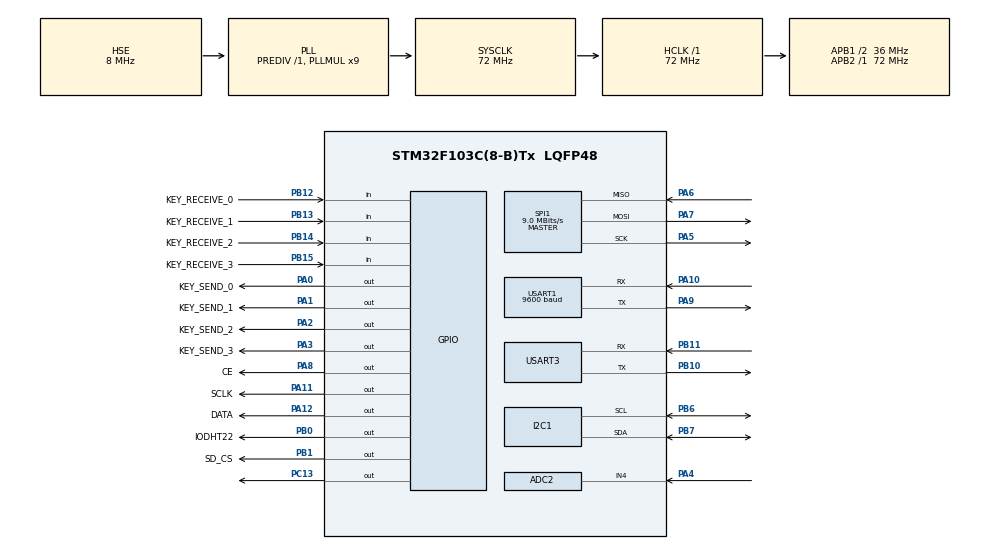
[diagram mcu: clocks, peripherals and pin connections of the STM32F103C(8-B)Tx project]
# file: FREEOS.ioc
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ADC2.Channel-0\#ChannelRegularConversion=ADC_CHANNEL_4
ADC2.NbrOfConversionFlag=1
ADC2.Rank-0\#ChannelRegularConversion=1
ADC2.SamplingTime-0\#ChannelRegularConversion=ADC_SAMPLETIME_1CYCLE_5
Dma.Request0=USART3_RX
Dma.Request1=USART3_TX
Dma.Request2=USART1_RX
Dma.Request3=USART1_TX
Dma.USART1_RX.2.Direction=DMA_PERIPH_TO_MEMORY
Dma.USART1_RX.2.Instance=DMA1_Channel5
Dma.USART1_RX.2.MemDataAlignment=DMA_MDATAALIGN_BYTE
Dma.USART1_RX.2.MemInc=DMA_MINC_ENABLE
Dma.USART1_RX.2.Mode=DMA_NORMAL
Dma.USART1_RX.2.PeriphDataAlignment=DMA_PDATAALIGN_BYTE
Dma.USART1_RX.2.PeriphInc=DMA_PINC_DISABLE
Dma.USART1_RX.2.Priority=DMA_PRIORITY_LOW
Dma.USART1_TX.3.Direction=DMA_MEMORY_TO_PERIPH
Dma.USART1_TX.3.Instance=DMA1_Channel4
Dma.USART1_TX.3.MemDataAlignment=DMA_MDATAALIGN_BYTE
Dma.USART1_TX.3.MemInc=DMA_MINC_ENABLE
Dma.USART1_TX.3.Mode=DMA_NORMAL
Dma.USART1_TX.3.PeriphDataAlignment=DMA_PDATAALIGN_BYTE
Dma.USART1_TX.3.PeriphInc=DMA_PINC_DISABLE
Dma.USART1_TX.3.Priority=DMA_PRIORITY_LOW
Dma.USART3_RX.0.Direction=DMA_PERIPH_TO_MEMORY
Dma.USART3_RX.0.Instance=DMA1_Channel3
Dma.USART3_RX.0.MemDataAlignment=DMA_MDATAALIGN_BYTE
Dma.USART3_RX.0.MemInc=DMA_MINC_ENABLE
Dma.USART3_RX.0.Mode=DMA_NORMAL
Dma.USART3_RX.0.PeriphDataAlignment=DMA_PDATAALIGN_BYTE
Dma.USART3_RX.0.PeriphInc=DMA_PINC_DISABLE
Dma.USART3_RX.0.Priority=DMA_PRIORITY_LOW
Dma.USART3_TX.1.Direction=DMA_MEMORY_TO_PERIPH
Dma.USART3_TX.1.Instance=DMA1_Channel2
Dma.USART3_TX.1.MemDataAlignment=DMA_MDATAALIGN_BYTE
Dma.USART3_TX.1.MemInc=DMA_MINC_ENABLE
Dma.USART3_TX.1.Mode=DMA_NORMAL
Dma.USART3_TX.1.PeriphDataAlignment=DMA_PDATAALIGN_BYTE
Dma.USART3_TX.1.PeriphInc=DMA_PINC_DISABLE
Dma.USART3_TX.1.Priority=DMA_PRIORITY_LOW
FREERTOS.BinarySemaphores01=myBinarySem01,Dynamic,NULL
FREERTOS.Queues01=myQueue01,16,uint16_t,0,Dynamic,NULL,NULL;myQueue02,8,uint8_t,0,Dynamic,NULL,NULL;myQueue03,8,uint8_t,0,Dynamic,NULL,NULL;wifi_flag,8,uint8_t,0,Dynamic,NULL,NULL;ADC_VALUE,16,uint16_t,0,Dynamic,NULL,NULL;wifi_statue,8,uint8_t,0,Dynamic,NULL,NULL
FREERTOS.Tasks01=defaultTask,0,128,StartDefaultTask,Default,NULL,Static,defaultTaskBuffer,defaultTaskControlBlock;myTask02,0,128,StartTask02,Default,NULL,Static,myTask02Buffer,myTask02ControlBlock;myTask03,0,128,StartTask03,Default,NULL,Static,myTask03Buffer,myTask03ControlBlock;myTask04,0,128,StartTask04,Default,NULL,Static,myTask04Buffer,myTask04ControlBlock;myTask05,0,128,StartTask05,Default,NULL,Static,myTask05Buffer,myTask05ControlBlock;myTask06,0,128,StartTask06,Default,NULL,Static,myTask06Buffer,myTask06ControlBlock;myTask08,0,128,StartTask08,Default,NULL,Static,myTask08Buffer,myTask08ControlBlock;myTask09,0,128,StartTask09,Default,NULL,Static,myTask09Buffer,myTask09ControlBlock
IWDG.Prescaler=IWDG_PRESCALER_32
IWDG.Reload=100
Mcu.Family=STM32F1
Mcu.Name=STM32F103C(8-B)Tx
Mcu.Package=LQFP48
NVIC.DMA1_Channel2_IRQn=true\:5\:0\:false\:false\:true\:true\:false\:true
NVIC.DMA1_Channel3_IRQn=true\:5\:0\:false\:false\:true\:true\:false\:true
NVIC.DMA1_Channel4_IRQn=true\:5\:0\:false\:false\:true\:true\:false\:true
NVIC.DMA1_Channel5_IRQn=true\:5\:0\:false\:false\:true\:true\:false\:true
NVIC.PriorityGroup=NVIC_PRIORITYGROUP_4
NVIC.TIM1_UP_IRQn=true\:5\:0\:false\:false\:true\:true\:true\:true
NVIC.TIM4_IRQn=true\:0\:0\:false\:false\:true\:false\:false\:true
NVIC.TimeBase=TIM4_IRQn
NVIC.TimeBaseIP=TIM4
NVIC.USART1_IRQn=true\:5\:0\:false\:false\:true\:true\:true\:true
NVIC.USART3_IRQn=true\:5\:0\:true\:false\:true\:true\:true\:true
PA0-WKUP.GPIO_Label=KEY_SEND_0
PA0-WKUP.GPIO_Speed=GPIO_SPEED_FREQ_HIGH
PA0-WKUP.PinState=GPIO_PIN_SET
PA0-WKUP.Signal=GPIO_Output
PA1.GPIO_Label=KEY_SEND_1
PA1.GPIO_Speed=GPIO_SPEED_FREQ_HIGH
PA1.PinState=GPIO_PIN_SET
PA1.Signal=GPIO_Output
PA10.Mode=Asynchronous
PA10.Signal=USART1_RX
PA11.GPIO_Label=SCLK
PA11.GPIO_Speed=GPIO_SPEED_FREQ_HIGH
PA11.PinState=GPIO_PIN_SET
PA11.Signal=GPIO_Output
PA12.GPIO_Label=DATA
PA12.GPIO_Speed=GPIO_SPEED_FREQ_HIGH
PA12.PinState=GPIO_PIN_SET
PA12.Signal=GPIO_Output
PA13.Mode=Serial_Wire
PA13.Signal=SYS_JTMS-SWDIO
PA14.Mode=Serial_Wire
PA14.Signal=SYS_JTCK-SWCLK
PA2.GPIO_Label=KEY_SEND_2
PA2.GPIO_Speed=GPIO_SPEED_FREQ_HIGH
PA2.PinState=GPIO_PIN_SET
PA2.Signal=GPIO_Output
PA3.GPIO_Label=KEY_SEND_3
PA3.GPIO_Speed=GPIO_SPEED_FREQ_HIGH
PA3.PinState=GPIO_PIN_SET
PA3.Signal=GPIO_Output
PA4.Signal=SharedAnalog_PA4
PA5.Mode=Full_Duplex_Master
PA5.Signal=SPI1_SCK
PA6.Mode=Full_Duplex_Master
PA6.Signal=SPI1_MISO
PA7.Mode=Full_Duplex_Master
PA7.Signal=SPI1_MOSI
PA8.GPIO_Label=CE
PA8.GPIO_Speed=GPIO_SPEED_FREQ_HIGH
PA8.PinState=GPIO_PIN_SET
PA8.Signal=GPIO_Output
PA9.Mode=Asynchronous
PA9.Signal=USART1_TX
PB0.GPIO_Label=IODHT22
PB0.GPIO_PuPd=GPIO_PULLUP
PB0.GPIO_Speed=GPIO_SPEED_FREQ_HIGH
PB0.PinState=GPIO_PIN_SET
PB0.Signal=GPIO_Output
PB1.GPIO_Label=SD_CS
PB1.Signal=GPIO_Output
PB10.Mode=Asynchronous
PB10.Signal=USART3_TX
PB11.Mode=Asynchronous
PB11.Signal=USART3_RX
PB12.GPIO_Label=KEY_RECEIVE_0
PB12.GPIO_Mode=GPIO_MODE_INPUT
PB12.GPIO_PuPd=GPIO_PULLUP
PB12.Signal=GPIO_Input
PB13.GPIO_Label=KEY_RECEIVE_1
PB13.GPIO_Mode=GPIO_MODE_INPUT
PB13.GPIO_PuPd=GPIO_PULLUP
PB13.Signal=GPIO_Input
PB14.GPIO_Label=KEY_RECEIVE_2
PB14.GPIO_Mode=GPIO_MODE_INPUT
PB14.GPIO_PuPd=GPIO_PULLUP
PB14.Signal=GPIO_Input
PB15.GPIO_Label=KEY_RECEIVE_3
PB15.GPIO_Mode=GPIO_MODE_INPUT
PB15.GPIO_PuPd=GPIO_PULLUP
PB15.Signal=GPIO_Input
PB6.Mode=I2C
PB6.Signal=I2C1_SCL
PB7.Mode=I2C
PB7.Signal=I2C1_SDA
PC13-TAMPER-RTC.GPIO_Speed=GPIO_SPEED_FREQ_HIGH
PC13-TAMPER-RTC.Signal=GPIO_Output
PD0-OSC_IN.Mode=HSE-External-Oscillator
PD0-OSC_IN.Signal=RCC_OSC_IN
PD1-OSC_OUT.Mode=HSE-External-Oscillator
PD1-OSC_OUT.Signal=RCC_OSC_OUT
ProjectManager.HeapSize=0x200
ProjectManager.StackSize=0x400
ProjectManager.TargetToolchain=MDK-ARM V5.27
RCC.ADCPresc=RCC_ADCPCLK2_DIV6
RCC.AHBFreq_Value=72000000
RCC.APB1CLKDivider=RCC_HCLK_DIV2
RCC.APB1Freq_Value=36000000
RCC.APB1TimFreq_Value=72000000
RCC.APB2Freq_Value=72000000
RCC.APB2TimFreq_Value=72000000
RCC.HCLKFreq_Value=72000000
RCC.PLLMUL=RCC_PLL_MUL9
RCC.PLLSourceVirtual=RCC_PLLSOURCE_HSE
RCC.SYSCLKFreq_VALUE=72000000
RCC.SYSCLKSource=RCC_SYSCLKSOURCE_PLLCLK
RCC.USBFreq_Value=72000000
RCC.VDD_VALUE=3.6
SH.SharedAnalog_PA4.0=GPIO_Analog
SH.SharedAnalog_PA4.1=ADC2_IN4,IN4
SPI1.BaudRatePrescaler=SPI_BAUDRATEPRESCALER_8
SPI1.CalculateBaudRate=9.0 MBits/s
SPI1.Direction=SPI_DIRECTION_2LINES
SPI1.Mode=SPI_MODE_MASTER
SPI1.VirtualType=VM_MASTER
TIM1.Period=50000-1
TIM1.Prescaler=71
USART1.BaudRate=9600
USART1.VirtualMode=VM_ASYNC
USART3.VirtualMode=VM_ASYNC
VP_FATFS_VS_Generic.Mode=User_defined
VP_FREERTOS_VS_CMSIS_V1.Mode=CMSIS_V1
VP_IWDG_VS_IWDG.Mode=IWDG_Activate
VP_SYS_VS_tim4.Mode=TIM4
VP_TIM1_VS_ClockSourceINT.Mode=Internal
board=custom

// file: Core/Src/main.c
/* USER CODE BEGIN Header */
/**
  ******************************************************************************
  * @file           : main.c
  * @brief          : Main program body
  ******************************************************************************
  * @attention
  *
  * <h2><center>&copy; Copyright (c) 2021 STMicroelectronics.
  * All rights reserved.</center></h2>
  *
  * This software component is licensed by ST under Ultimate Liberty license
  * SLA0044, the "License"; You may not use this file except in compliance with
  * the License. You may obtain a copy of the License at:
  *                             www.st.com/SLA0044
  *
  ******************************************************************************
  */
/* USER CODE END Header */
#include "main.h"
#include "cmsis_os.h"
#include "adc.h"
#include "dma.h"
#include "fatfs.h"
#include "i2c.h"
#include "iwdg.h"
#include "spi.h"
#include "tim.h"
#include "usart.h"
#include "gpio.h"

void SystemClock_Config(void);
void MX_FREERTOS_Init(void);

int main(void)
{

  /* MCU Configuration--------------------------------------------------------*/

  /* Reset of all peripherals, Initializes the Flash interface and the Systick. */
  HAL_Init();

  /* Configure the system clock */
  SystemClock_Config();

  /* Initialize all configured peripherals */
  MX_GPIO_Init();
  MX_DMA_Init();
  MX_USART3_UART_Init();
  MX_I2C1_Init();
  MX_TIM1_Init();
  MX_IWDG_Init();
  MX_ADC2_Init();
  MX_USART1_UART_Init();
  MX_SPI1_Init();
  MX_FATFS_Init();

  /* Call init function for freertos objects (in freertos.c) */
  MX_FREERTOS_Init();
  /* Start scheduler */
  osKernelStart();

  /* We should never get here as control is now taken by the scheduler */
  /* Infinite loop */
  while (1)
  {

  }
}

void SystemClock_Config(void)
{
  RCC_OscInitTypeDef RCC_OscInitStruct = {0};
  RCC_ClkInitTypeDef RCC_ClkInitStruct = {0};
  RCC_PeriphCLKInitTypeDef PeriphClkInit = {0};

  /** Initializes the RCC Oscillators according to the specified parameters
  * in the RCC_OscInitTypeDef structure.
  */
  RCC_OscInitStruct.OscillatorType = RCC_OSCILLATORTYPE_LSI|RCC_OSCILLATORTYPE_HSE;
  RCC_OscInitStruct.HSEState = RCC_HSE_ON;
  RCC_OscInitStruct.HSEPredivValue = RCC_HSE_PREDIV_DIV1;
  RCC_OscInitStruct.HSIState = RCC_HSI_ON;
  RCC_OscInitStruct.LSIState = RCC_LSI_ON;
  RCC_OscInitStruct.PLL.PLLState = RCC_PLL_ON;
  RCC_OscInitStruct.PLL.PLLSource = RCC_PLLSOURCE_HSE;
  RCC_OscInitStruct.PLL.PLLMUL = RCC_PLL_MUL9;
  if (HAL_RCC_OscConfig(&RCC_OscInitStruct) != HAL_OK)
  {
    Error_Handler();
  }
  /** Initializes the CPU, AHB and APB buses clocks
  */
  RCC_ClkInitStruct.ClockType = RCC_CLOCKTYPE_HCLK|RCC_CLOCKTYPE_SYSCLK
                              |RCC_CLOCKTYPE_PCLK1|RCC_CLOCKTYPE_PCLK2;
  RCC_ClkInitStruct.SYSCLKSource = RCC_SYSCLKSOURCE_PLLCLK;
  RCC_ClkInitStruct.AHBCLKDivider = RCC_SYSCLK_DIV1;
  RCC_ClkInitStruct.APB1CLKDivider = RCC_HCLK_DIV2;
  RCC_ClkInitStruct.APB2CLKDivider = RCC_HCLK_DIV1;

  if (HAL_RCC_ClockConfig(&RCC_ClkInitStruct, FLASH_LATENCY_2) != HAL_OK)
  {
    Error_Handler();
  }
  PeriphClkInit.PeriphClockSelection = RCC_PERIPHCLK_ADC;
  PeriphClkInit.AdcClockSelection = RCC_ADCPCLK2_DIV6;
  if (HAL_RCCEx_PeriphCLKConfig(&PeriphClkInit) != HAL_OK)
  {
    Error_Handler();
  }
}

 /**
  * @brief  Period elapsed callback in non blocking mode
  * @note   This function is called  when TIM4 interrupt took place, inside
  * HAL_TIM_IRQHandler(). It makes a direct call to HAL_IncTick() to increment
  * a global variable "uwTick" used as application time base.
  * @param  htim : TIM handle
  * @retval None
  */
void HAL_TIM_PeriodElapsedCallback(TIM_HandleTypeDef *htim)
{
  if (htim->Instance == TIM4) {
    HAL_IncTick();
  }
}

void Error_Handler(void)
{
  __disable_irq();
  while (1)
  {
  }
}

/************************ (C) COPYRIGHT STMicroelectronics *****END OF FILE****/

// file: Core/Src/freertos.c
/* USER CODE BEGIN Header */
/**
  ******************************************************************************
  * File Name          : freertos.c
  * Description        : Code for freertos applications
  ******************************************************************************
  * @attention
  *
  * <h2><center>&copy; Copyright (c) 2021 STMicroelectronics.
  * All rights reserved.</center></h2>
  *
  * This software component is licensed by ST under Ultimate Liberty license
  * SLA0044, the "License"; You may not use this file except in compliance with
  * the License. You may obtain a copy of the License at:
  *                             www.st.com/SLA0044
  *
  ******************************************************************************
  */
/* USER CODE END Header */

#include "FreeRTOS.h"
#include "task.h"
#include "main.h"
#include "cmsis_os.h"

/* USER CODE BEGIN Includes */
#include "stdarg.h"
#include "stdio.h"
#include "ssd1306.h"
#include "dht11.h"
//#include "ds18b20.h"
#include "SDdriver.h"
#include "Matrix_keyboard.h"
#include "module_wifi.h"
#include "ds1302.h"
#include "module_option.h"
#include "filedir.h"
/* USER CODE END Includes */

/* USER CODE BEGIN Variables */
//struct TIMEData TimeData;
extern I2C_HandleTypeDef hi2c1;
extern UART_HandleTypeDef huart3;
extern UART_HandleTypeDef huart1;
extern IWDG_HandleTypeDef hiwdg;
extern ADC_HandleTypeDef hadc2;
uint8_t temp=0,humi=0;
char USART_buf[50],oled_buf[255],enter[4];
char *p;
int cmp=0;
int key=0;
uint8_t cursor=1;
char led;
char clock_state=0;
//uint8_t wifistatue=0;
osMailQId myQueue04Handle;
osMailQId myQueue05Handle;
osMailQId myQueue06Handle;
/* USER CODE END Variables */
osThreadId defaultTaskHandle;
uint32_t defaultTaskBuffer[ 128 ];
osStaticThreadDef_t defaultTaskControlBlock;
osThreadId myTask02Handle;
uint32_t myTask02Buffer[ 128 ];
osStaticThreadDef_t myTask02ControlBlock;
osThreadId myTask03Handle;
uint32_t myTask03Buffer[ 128 ];
osStaticThreadDef_t myTask03ControlBlock;
osThreadId myTask04Handle;
uint32_t myTask04Buffer[ 128 ];
osStaticThreadDef_t myTask04ControlBlock;
osThreadId myTask05Handle;
uint32_t myTask05Buffer[ 128 ];
osStaticThreadDef_t myTask05ControlBlock;
osThreadId myTask06Handle;
uint32_t myTask06Buffer[ 128 ];
osStaticThreadDef_t myTask06ControlBlock;
osThreadId myTask08Handle;
uint32_t myTask08Buffer[ 128 ];
osStaticThreadDef_t myTask08ControlBlock;
osThreadId myTask09Handle;
uint32_t myTask09Buffer[ 128 ];
osStaticThreadDef_t myTask09ControlBlock;
osMessageQId myQueue01Handle;
osMessageQId myQueue02Handle;
osMessageQId myQueue03Handle;
osMessageQId wifi_flagHandle;
osMessageQId ADC_VALUEHandle;
osMessageQId wifi_statueHandle;
osSemaphoreId myBinarySem01Handle;

/* USER CODE BEGIN FunctionPrototypes */
void vprint(const char *fmt, va_list argp) {
	char string[200];
	if (0 < vsprintf(string, fmt, argp)) // build string
			{
		HAL_UART_Transmit_DMA(&huart3, (uint8_t*) string, strlen(string)); // send message via UART

	}
}

void my_printf(const char *fmt, ...) // custom printf() function
{
	va_list argp;
	va_start(argp, fmt);
	vprint(fmt, argp);
	va_end(argp);
}
void vprint_UART1(const char *fmt, va_list argp) {
	char string[200];
	if (0 < vsprintf(string, fmt, argp)) // build string
			{
		HAL_UART_Transmit(&huart1, (uint8_t*) string, strlen(string),1000); // send message via UART

	}
}

int UART1_printf(const char *fmt, ...) // custom printf() function
{
	va_list argp;
	va_start(argp, fmt);
	vprint_UART1(fmt, argp);
	va_end(argp);
	return 0;
}
void led_PWM(int cmp)
{
	int i=0;
				for(i=1;i<100;i++)
          {
							if(i<cmp)
							{
								HAL_GPIO_WritePin(GPIOC,GPIO_PIN_13,GPIO_PIN_RESET);
								delay_us(200);
							}
							else
							{
								HAL_GPIO_WritePin(GPIOC,GPIO_PIN_13,GPIO_PIN_SET);
								delay_us(200);
							}
          }
}
/* USER CODE END FunctionPrototypes */

void StartDefaultTask(void const * argument);
void StartTask02(void const * argument);
void StartTask03(void const * argument);
void StartTask04(void const * argument);
void StartTask05(void const * argument);
void StartTask06(void const * argument);
void StartTask08(void const * argument);
void StartTask09(void const * argument);

void MX_FREERTOS_Init(void); /* (MISRA C 2004 rule 8.1) */

/* GetIdleTaskMemory prototype (linked to static allocation support) */
void vApplicationGetIdleTaskMemory( StaticTask_t **ppxIdleTaskTCBBuffer, StackType_t **ppxIdleTaskStackBuffer, uint32_t *pulIdleTaskStackSize );

/* USER CODE BEGIN GET_IDLE_TASK_MEMORY */
static StaticTask_t xIdleTaskTCBBuffer;
static StackType_t xIdleStack[configMINIMAL_STACK_SIZE];

void vApplicationGetIdleTaskMemory( StaticTask_t **ppxIdleTaskTCBBuffer, StackType_t **ppxIdleTaskStackBuffer, uint32_t *pulIdleTaskStackSize )
{
  *ppxIdleTaskTCBBuffer = &xIdleTaskTCBBuffer;
  *ppxIdleTaskStackBuffer = &xIdleStack[0];
  *pulIdleTaskStackSize = configMINIMAL_STACK_SIZE;
  /* place for user code */
}
/* USER CODE END GET_IDLE_TASK_MEMORY */

void MX_FREERTOS_Init(void) {

  /* Create the semaphores(s) */
  /* definition and creation of myBinarySem01 */
  osSemaphoreDef(myBinarySem01);
  myBinarySem01Handle = osSemaphoreCreate(osSemaphore(myBinarySem01), 1);

  /* Create the queue(s) */
  /* definition and creation of myQueue01 */
  osMessageQDef(myQueue01, 16, uint16_t);
  myQueue01Handle = osMessageCreate(osMessageQ(myQueue01), NULL);

  /* definition and creation of myQueue02 */
  osMessageQDef(myQueue02, 8, uint8_t);
  myQueue02Handle = osMessageCreate(osMessageQ(myQueue02), NULL);

  /* definition and creation of myQueue03 */
  osMessageQDef(myQueue03, 8, uint8_t);
  myQueue03Handle = osMessageCreate(osMessageQ(myQueue03), NULL);

  /* definition and creation of wifi_flag */
  osMessageQDef(wifi_flag, 8, uint8_t);
  wifi_flagHandle = osMessageCreate(osMessageQ(wifi_flag), NULL);

  /* definition and creation of ADC_VALUE */
  osMessageQDef(ADC_VALUE, 16, uint16_t);
  ADC_VALUEHandle = osMessageCreate(osMessageQ(ADC_VALUE), NULL);

  /* definition and creation of wifi_statue */
  osMessageQDef(wifi_statue, 8, uint8_t);
  wifi_statueHandle = osMessageCreate(osMessageQ(wifi_statue), NULL);

  /* USER CODE BEGIN RTOS_QUEUES */
  /* add queues, ... */
	osMailQDef(myQueue04,16,uint16_t);
	myQueue04Handle=osMailCreate(osMailQ(myQueue04),NULL);

	osMailQDef(myQueue05,16,uint16_t);
	myQueue05Handle=osMailCreate(osMailQ(myQueue05),NULL);

	osMailQDef(myQueue06,16,uint16_t);
	myQueue06Handle=osMailCreate(osMailQ(myQueue06),NULL);
  /* USER CODE END RTOS_QUEUES */

  /* Create the thread(s) */
  /* definition and creation of defaultTask */
  osThreadStaticDef(defaultTask, StartDefaultTask, osPriorityNormal, 0, 128, defaultTaskBuffer, &defaultTaskControlBlock);
  defaultTaskHandle = osThreadCreate(osThread(defaultTask), NULL);

  /* definition and creation of myTask02 */
  osThreadStaticDef(myTask02, StartTask02, osPriorityNormal, 0, 128, myTask02Buffer, &myTask02ControlBlock);
  myTask02Handle = osThreadCreate(osThread(myTask02), NULL);

  /* definition and creation of myTask03 */
  osThreadStaticDef(myTask03, StartTask03, osPriorityNormal, 0, 128, myTask03Buffer, &myTask03ControlBlock);
  myTask03Handle = osThreadCreate(osThread(myTask03), NULL);

  /* definition and creation of myTask04 */
  osThreadStaticDef(myTask04, StartTask04, osPriorityNormal, 0, 128, myTask04Buffer, &myTask04ControlBlock);
  myTask04Handle = osThreadCreate(osThread(myTask04), NULL);

  /* definition and creation of myTask05 */
  osThreadStaticDef(myTask05, StartTask05, osPriorityNormal, 0, 128, myTask05Buffer, &myTask05ControlBlock);
  myTask05Handle = osThreadCreate(osThread(myTask05), NULL);

  /* definition and creation of myTask06 */
  osThreadStaticDef(myTask06, StartTask06, osPriorityNormal, 0, 128, myTask06Buffer, &myTask06ControlBlock);
  myTask06Handle = osThreadCreate(osThread(myTask06), NULL);

  /* definition and creation of myTask08 */
  osThreadStaticDef(myTask08, StartTask08, osPriorityNormal, 0, 128, myTask08Buffer, &myTask08ControlBlock);
  myTask08Handle = osThreadCreate(osThread(myTask08), NULL);

  /* definition and creation of myTask09 */
  osThreadStaticDef(myTask09, StartTask09, osPriorityNormal, 0, 128, myTask09Buffer, &myTask09ControlBlock);
  myTask09Handle = osThreadCreate(osThread(myTask09), NULL);

}

void StartDefaultTask(void const * argument)
{
  /* USER CODE BEGIN StartDefaultTask */

	OLED_Init(hi2c1);
	char *ssid;
	char *passwd;
	char j=0,k=0;
	osEvent keyEvent,blueteethEvent,UART3Event;
	osEvent wififlag,ADCEvent;
  /* Infinite loop */
  for(;;)
  {
		wififlag=osMessageGet(wifi_flagHandle,osWaitForever);
		if(wififlag.status==osEventMessage)
		{
			if(wififlag.value.v==1)
			{

				OLED_ShowString(50,5,"success!!!");
			}
			else
			{
				OLED_ShowString(50,5,"sending...");
			}
		}
		ADCEvent=osMessageGet(ADC_VALUEHandle,osWaitForever);
		if(ADCEvent.status==osEventMessage)
		{
			if(ADCEvent.value.v<9)
			{
				sprintf(oled_buf,"ADC:   %d",ADCEvent.value.v);//*(3.3/255)
			}
			if(ADCEvent.value.v>=9&&ADCEvent.value.v<=99)
			{
				sprintf(oled_buf,"ADC:  %d",ADCEvent.value.v);
			}
			if(ADCEvent.value.v>99&&ADCEvent.value.v<=999)
			{
				sprintf(oled_buf,"ADC: %d",ADCEvent.value.v);
			}
			if(ADCEvent.value.v>999&&ADCEvent.value.v<=9999)
			{
				sprintf(oled_buf,"ADC:%d",ADCEvent.value.v);
			}
			OLED_ShowString(10,6,oled_buf);
		}
		keyEvent=osMessageGet(myQueue01Handle,osWaitForever);
		sprintf(oled_buf,"%d",temp);
		OLED_ShowString(50,0,"temp=");
		OLED_ShowString(84,0,oled_buf);
		OLED_ShowString(108,0,"  ");
		OLED_ShowString(50,2,"humi=");
		sprintf(oled_buf,"%d",humi);
		OLED_ShowString(84,2,oled_buf);
		if(keyEvent.status==osEventMessage&&keyEvent.value.v==41)
		{
		}
		if(keyEvent.status==osEventMessage&&keyEvent.value.v==42)
		{
				module_option(keyEvent);

		}
		if(keyEvent.status==osEventMessage&&keyEvent.value.v==43)
		{
			vTaskSuspend(myTask05Handle);
			HAL_UART_Transmit(&huart1,"AT+ROLE=2\r\n", strlen("AT+ROLE=2\r\n"),0xffff);
			my_printf("AT\r\n");
			osDelay(1000);
			my_printf("AT\r\n");
			osDelay(1000);
			my_printf("AT\r\n");
			osDelay(1000);
			OLED_Fill(0x00);
			my_printf("AT+CWJAP?\r\n");
			while(1)
			{
					UART3Event=osMailGet(myQueue06Handle,10);
					if(UART3Event.status==osEventMail)
					{
	          p=strtok(Uart3_RxBuffer,"\r\n");
							OLED_ShowString(0,++j,p);
						if(j==6)
						{
							j=0;
							OLED_Fill(0x00);
						}
					}
				keyEvent=osMessageGet(myQueue01Handle,osWaitForever);
				if(keyEvent.status==osEventMessage&&keyEvent.value.v==43)
				{
					vTaskResume(myTask05Handle);
					my_printf("%s",AT_CWJAP);
					OLED_Fill(0x00);
					OLED_Refresh();
					break;
				}
				OLED_Refresh();
			}
		}
		OLED_Refresh();
    osDelay(100);
  }
  /* USER CODE END StartDefaultTask */
}

void StartTask02(void const * argument)
{
  /* USER CODE BEGIN StartTask02 */
	 //OLED_Init(hi2c1);
	HAL_GPIO_WritePin(GPIOC,GPIO_PIN_13,GPIO_PIN_SET);
  /* Infinite loop */
  for(;;)
  {
		if(led == 2)//关闭
		{
			HAL_GPIO_WritePin(GPIOC,GPIO_PIN_13,GPIO_PIN_SET);
		}
		if(led==1)//呼吸模式
		{
			for(cmp=0;cmp<100;cmp+=3)
			{
				led_PWM(cmp);
				//osDelay(20);
			}

			for(cmp;cmp>0;cmp-=3)
			{
				led_PWM(cmp);
				//osDelay(20);
			}
		}
		if(led==0)//普�?�模�?
		{
			led_PWM(100);
		}
  }
  /* USER CODE END StartTask02 */
}

void StartTask03(void const * argument)
{
  /* USER CODE BEGIN StartTask03 */

  /* Infinite loop */
  for(;;)
  {

		key=keyscan();
		osMessagePut(myQueue01Handle,key,osWaitForever);

	  osDelay(100);

  }
  /* USER CODE END StartTask03 */
}

void StartTask04(void const * argument)
{
  /* USER CODE BEGIN StartTask04 */
	vPortEnterCritical();
	DHT11_Init();
	vPortExitCritical();
  /* Infinite loop */
  for(;;)
  {

		//vPortRaiseBASEPRI();
		//__HAL_UART_DISABLE_IT(&huart3,UART_IT_RXNE);
		osDelay(500);
		vPortEnterCritical();

		Uart3_Rx_Cnt=0;
		DHT11_Read_Data(&temp, &humi); //读取温湿�?

		//DHT11_Read_Data_Float(&temp,&humi);
		//temp=DS18B20_Get_Temp();
		vPortExitCritical();

		__HAL_UART_ENABLE_IT(&huart3,UART_IT_RXNE);
		osDelay(500);

  }
  /* USER CODE END StartTask04 */
}

void StartTask05(void const * argument)
{
  /* USER CODE BEGIN StartTask05 */
	char *dht11buf;
	osEvent UartEvent,ADCEvent,wifi_statueEvent;
	char len_buf[25];
wifi_init(&huart3);
  /* Infinite loop */
  for(;;)
  {

		ADCEvent=osMessageGet(ADC_VALUEHandle,osWaitForever);
		if(ADCEvent.status==osEventMessage)
		{
			sprintf(USART_buf,"{\"device\":\"stm32f103c8t6\",\"ADC\":%d,}\n",ADCEvent.value.v);
			sprintf(USART_buf,"AT+CIPSEND=%d\r\n",strlen(USART_buf));
			HAL_UART_Transmit_DMA(&huart3, USART_buf, strlen((char*)USART_buf));
			osDelay(500);
			sprintf(USART_buf,"{\"device\":\"stm32f103c8t6\",\"ADC\":%d,}\n",ADCEvent.value.v);
			HAL_UART_Transmit_DMA(&huart3, USART_buf, strlen((char*)USART_buf));
			osDelay(500);
		}
		sprintf(USART_buf,"{\"device\":\"stm32f103c8t6\",\"humi\":%d,\"temp\":%d,}\n",humi,temp);
		HAL_UART_Transmit_DMA(&huart3, AT_CIPSEND47, strlen((char*) AT_CIPSEND47));
		osDelay(500);
		UartEvent=osMailGet(myQueue04Handle,200);
		if(UartEvent.status==osEventMail)
		{
			strcpy(USART_buf,UartEvent.value.p);
		}
		HAL_UART_Transmit_DMA(&huart3, USART_buf, strlen((char*)USART_buf));
    osDelay(500);
    osDelay(1);
  }
  /* USER CODE END StartTask05 */
}

void StartTask06(void const * argument)
{
  /* USER CODE BEGIN StartTask06 */

  /* Infinite loop */
  for(;;)
  {
		HAL_IWDG_Refresh(&hiwdg);//喂狗
//    HAL_UART_Receive_DMA(&huart3,(uint8_t *)&aRxBuffer3,1);
    osDelay(1);
  }
  /* USER CODE END StartTask06 */
}

void StartTask08(void const * argument)
{
  /* USER CODE BEGIN StartTask08 */

  /* Infinite loop */
  for(;;)
  {

		ds1032_read_realTime();
    osDelay(1);
  }
  /* USER CODE END StartTask08 */
}

void StartTask09(void const * argument)
{
  /* USER CODE BEGIN StartTask09 */
	uint8_t buf[25];
	uint16_t Value[22];
	uint16_t AD_Value,max,min;
	uint16_t ADC_mv;
  /* Infinite loop */
  for(;;)
  {
				for(char n=0;n<22;n++)
        {//�?22个忼做滤波甿
            HAL_ADC_Start(&hadc2);
            HAL_ADC_PollForConversion(&hadc2, 10);    //等待转换完成，第二个参数表示超时时间，单位ms
            if(HAL_IS_BIT_SET(HAL_ADC_GetState(&hadc2), HAL_ADC_STATE_REG_EOC))
            {
                Value[n]=HAL_ADC_GetValue(&hadc2);
                AD_Value += Value[n];
            }
        }
        max=Value[0];
        min=Value[0];
        for(char n=0;n<22;n++)//取最大忼㿁最小忿
        {
            max=(Value[n]<max)?max:Value[n];
            min=(min<Value[n])?min:Value[n];
        }
		ADC_mv=((AD_Value -max-min)/20*3300/4096);
		osMessagePut(ADC_VALUEHandle,ADC_mv,osWaitForever);
		//HAL_UART_Transmit_DMA(&huart3,(uint8_t *)buf,strlen(buf));
    AD_Value=0;
    osDelay(1);
  }
  /* USER CODE END StartTask09 */
}

/************************ (C) COPYRIGHT STMicroelectronics *****END OF FILE****/
